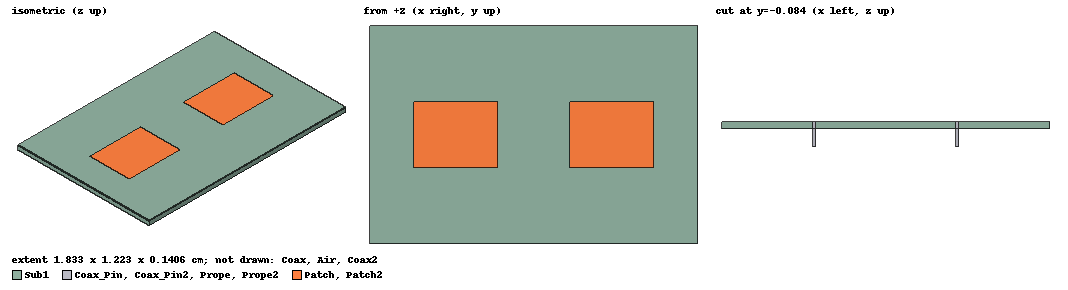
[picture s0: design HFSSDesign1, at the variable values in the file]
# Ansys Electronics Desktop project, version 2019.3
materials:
  vacuum: permittivity=1
  Rogers RT/duroid 5880 (tm): permittivity=2.2 dielectric_loss_tangent=0.0009
  pec: conductivity=1e+30
  Rogers RO4003 (tm): permittivity=3.55 dielectric_loss_tangent=0.0027

design HFSSDesign1 (HFSS, DrivenTerminal, model units cm)
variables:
  Lp = 4.73mm
  Wp = 3.68mm
  hs = 0.406mm
  Ws = 12*hs+Wp*2
  Ls = 12*hs+Lp*2+dp
  xsub = -Ls/2
  ysub = -Ws/2
  xfeed = 2mm
  dp = 4mm
  rcoax = 0.16mm
  hcoax = 1mm
  rprope = 0.07mm
  Lair = (40+40.73) mm
  Wair = (30+21.65) mm
  xair = (-80.73/2) mm
  yair = (-51.65/2) mm
  hair = 13.2mm
  yfeed = 1mm
  xp = dp/2
  yp = -Wp/2
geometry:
  Sub1 [Rogers RO4003 (tm)] = box(corner=(xsub, ysub, 0mm), size=(Ls, Ws, hs))
  inf_GND [Rogers RT/duroid 5880 (tm)] = rectangle(corner=(xsub, ysub, 0mm), x_size=Ls, y_size=Ws)
  Cut_Out = circle(normal=Z, centre=(xp+xfeed, yp+yfeed, 0mm), radius=rcoax)
  inf_GND.subtract(Cut_Out)
  Patch [Rogers RT/duroid 5880 (tm)] = rectangle(corner=(xp, yp, hs), x_size=Lp, y_size=Wp)
  Coax [vacuum] = cylinder(axis=Z, base_centre=(xp+xfeed, yp+yfeed, 0mm), radius=rcoax, height=-hcoax)
  Coax_Pin [pec] = cylinder(axis=Z, base_centre=(xp+xfeed, yp+yfeed, 0mm), radius=rprope, height=-hcoax)
  Port1 [pec] = circle(normal=Z, centre=(xp+xfeed, yp+yfeed, -hcoax), radius=rcoax)
  Prope [pec] = cylinder(axis=Z, base_centre=(xp+xfeed, yp+yfeed, 0mm), radius=rprope, height=hs)
  Air [vacuum] = box(corner=(xair, yair, 0mm), size=(Lair, Wair, hair))
  Cut_Out2 = circle(normal=Z, centre=(-(xp+xfeed), yp+yfeed, 0mm), radius=rcoax)
  inf_GND.subtract(Cut_Out2)
  Patch2 = rectangle(corner=(xp-Lp-dp, yp, hs), x_size=Lp, y_size=Wp)
  Coax2 [vacuum] = cylinder(axis=Z, base_centre=(-(xp+xfeed), yp+yfeed, 0mm), radius=rcoax, height=-hcoax)
  Coax_Pin2 [pec] = cylinder(axis=Z, base_centre=(-(xp+xfeed), yp+yfeed, 0mm), radius=rprope, height=-hcoax)
  Port2 [pec] = circle(normal=Z, centre=(-(xp+xfeed), yp+yfeed, -hcoax), radius=rcoax)
  Prope2 [pec] = cylinder(axis=Z, base_centre=(-(xp+xfeed), yp+yfeed, 0mm), radius=rprope, height=hs)
  group Input_feed1 = Coax, Coax_Pin, Port1, Prope
  group Input_feed2 = Coax2, Coax_Pin2, Port2, Prope2
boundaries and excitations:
  PerfE_inf_GND: Perfect E Objects=inf_GND
  PerfE_Patch: Perfect E Objects=Patch
  Rad1: Radiation Faces=Air.face(+x, +y, -y, -x, +z)
  PerfE1: Perfect E Objects=Patch2
  Coax_Pin_T1: Terminal port=1 Faces=Coax_Pin.face(2 of 3) TerminalResistance=50ohm
  Coax_Pin2_T1: Terminal port=2 Faces=Coax_Pin2.face(2 of 3) TerminalResistance=50ohm
  1: Wave Port Faces=Port1.face NumModes=1
  2: Wave Port Faces=Port2.face NumModes=1
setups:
  Setup1: HfssDriven Frequency=20GHz MaxDeltaS=0.02 MaximumPasses=18 MinimumPasses=1 MinimumConvergedPasses=1 PercentRefinement=30 BasisOrder=1 PortAccuracy=2
    sweep Sweep: 20GHz to 21GHz step 1GHz; Type=Fast SaveFields SaveRadFields GenerateFieldsForAllFreqs
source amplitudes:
  1:1: 1V 0deg
  2:1: 0V 0deg
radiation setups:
  e_plane: Infinite Sphere Theta=-180deg..180deg step 2deg Phi=0deg..0deg step 1deg
  h_plane: Infinite Sphere Theta=-180deg..180deg step 2deg Phi=90deg..90deg step 1deg
  3d: Infinite Sphere Theta=-180deg..180deg step 2deg Phi=0deg..360deg step 2deg
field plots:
  Vector_E1: E Field over Patch.face on Setup1 : LastAdaptive at Freq=20GHz Phase=0deg
  Vector_E2: E Field over Patch2.face on Setup1 : LastAdaptive at Freq=20GHz Phase=0deg
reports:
  S11: dB(St(Coax_Pin_T1,Coax_Pin_T1)) vs Freq on Setup1 : Sweep; markers m1 at 20.2GHz, MX1 at x=2.0621532e+10, MX2 at x=1.8912338e+10, MX3 at x=1.8977273e+10
  Zin: mag(Zt(Coax_Pin_T1,Coax_Pin_T1)) vs Freq on Setup1 : Sweep; markers MX1 at x=2e+10
  S21: dB(St(Coax_Pin2_T1,Coax_Pin_T1)) vs Freq on Setup1 : Sweep [hs=all xfeed=all dp=all yfeed=all]; markers MX1 at x=2e+10
  Efeild: abs(rETotal) vs Theta on Setup1 : LastAdaptive, e_plane [Phi=all Freq=20GHz]
  Eradation_pattern: abs(rETotal) vs Theta on Setup1 : LastAdaptive, e_plane [Phi=all Freq=20GHz dp=all]
  Hradation_pattern: abs(rETotal) vs Theta on Setup1 : LastAdaptive, h_plane [Phi=all Freq=20GHz]
  3D_radation_pattern: abs(rETotal) vs Phi, Theta on Setup1 : LastAdaptive, 3d [Freq=20GHz dp=1mm]
  Co_X_graph: dB10normalize(GainPhi), dB10normalize(GainTheta) vs Theta on Setup1 : LastAdaptive, e_plane [Phi=0deg Freq=20GHz]
  Gain_vs_Frequency: GainTotal vs Freq on Setup1 : Sweep, 3d [Phi=0deg Theta=0deg]; markers MX1 at x=2e+10
  radiation_efficiency_vs_frequency: DirTotal vs Freq on Setup1 : Sweep, 3d [Phi=0deg Theta=0deg]; markers MX1 at x=2e+10
  Terminal S Parameter Plot 1: dB(St(Coax_Pin_T1,Coax_Pin_T1)) vs Freq on Setup1 : Sweep [dp=all]
  Terminal S Parameter Plot 2: dB(St(Coax_Pin_T1,Coax_Pin_T1)) vs Freq on Setup1 : Sweep [Wp=all hs=all dp=all]
  Terminal Z Parameter Plot 1: mag(Zt(Coax_Pin2_T1,Coax_Pin2_T1)) vs Freq on Setup1 : Sweep [Wp=all hs=all dp=all]; markers MX1 at x=2e+10
  rE_dp_sweap: abs(rETotal) vs Theta on Setup1 : LastAdaptive, e_plane [Phi=all Freq=20GHz Wp=all hs=all dp=all]
